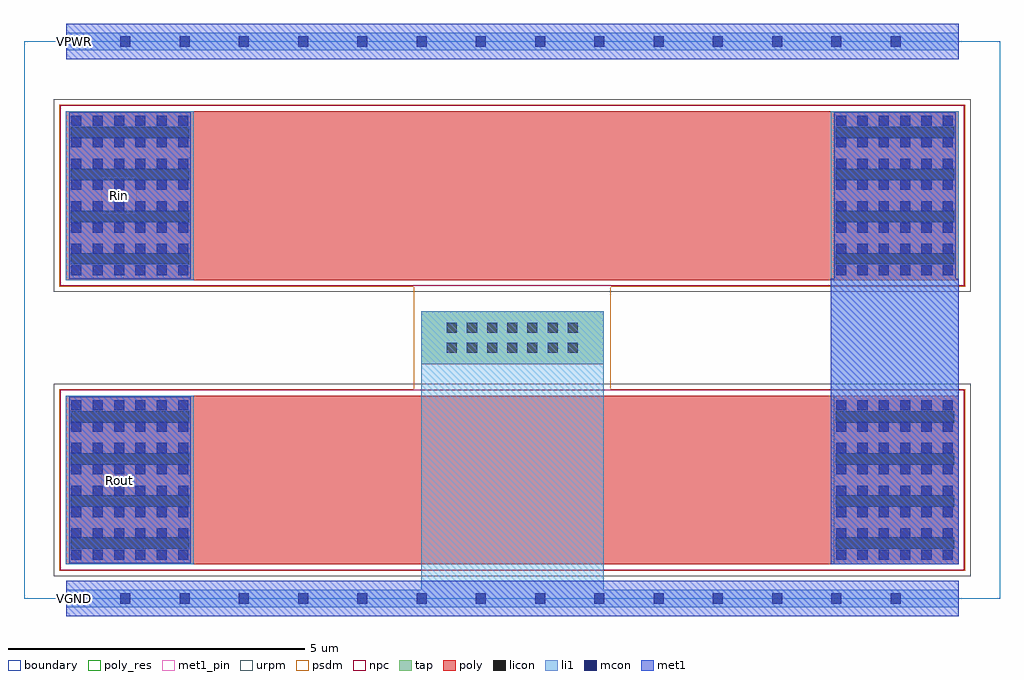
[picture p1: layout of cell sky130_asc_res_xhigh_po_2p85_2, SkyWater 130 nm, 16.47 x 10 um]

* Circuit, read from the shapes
.subckt sky130_asc_res_xhigh_po_2p85_2 Rin Rout VGND VPWR
XR1 n1 Rout VGND sky130_fd_pr__res_xhigh_po w=2.85 l=10.75
XR2 n1 Rin VGND sky130_fd_pr__res_xhigh_po w=2.85 l=10.75
.ends

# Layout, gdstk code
import gdstk
lib = gdstk.Library(unit=1e-6, precision=1e-09)
def R(c, l, rs):  # rectangles x0, y0, x1, y1
    for r in rs: c.add(gdstk.rectangle(r[:2], r[2:], *l))
def A(c, l, x, y, w, h, nx, ny, dx, dy):  # array of equal rectangles
    R(c, l, [(x+i*dx, y+j*dy, x+i*dx+w, y+j*dy+h) for i in range(nx) for j in range(ny)])
tap = (65, 44)
poly_res = (66, 13)
poly = (66, 20)
licon = (66, 44)
li1 = (67, 20)
mcon = (67, 44)
met1_pin = (68, 16)
met1 = (68, 20)
urpm = (79, 20)
psdm = (94, 20)
npc = (95, 20)
boundary = (235, 4)

sky130_asc_res_xhigh_po_ = lib.new_cell('sky130_asc_res_xhigh_po_2p85_2')
R(sky130_asc_res_xhigh_po_, tap, [(6.7,3.95,9.78,4.85)])
R(sky130_asc_res_xhigh_po_, poly_res, [(2.805,0.575,13.675,3.425), (2.805,5.375,13.675,8.225)])
R(sky130_asc_res_xhigh_po_, poly, [(0.705,0.575,15.775,3.425), (0.705,5.375,15.775,8.225)])
A(sky130_asc_res_xhigh_po_, licon, 0.785, 0.84, 2, 0.19, 1, 4, 0, 0.71)
A(sky130_asc_res_xhigh_po_, licon, 13.695, 0.84, 2, 0.19, 1, 4, 0, 0.71)
A(sky130_asc_res_xhigh_po_, licon, 7.135, 4.145, 0.17, 0.17, 7, 2, 0.34, 0.34)
A(sky130_asc_res_xhigh_po_, licon, 0.785, 5.64, 2, 0.19, 1, 4, 0, 0.71)
A(sky130_asc_res_xhigh_po_, licon, 13.695, 5.64, 2, 0.19, 1, 4, 0, 0.71)
R(sky130_asc_res_xhigh_po_, li1, [(0.71,-0.15,15.77,0.15), (6.7,0.15,9.78,4.85), (0.705,0.575,2.865,3.425), (13.615,0.575,15.775,8.225), (0.705,5.375,2.865,8.225), (0.71,9.25,15.77,9.55)])
A(sky130_asc_res_xhigh_po_, mcon, 1.625, -0.085, 0.17, 0.17, 14, 2, 1, 9.4)
A(sky130_asc_res_xhigh_po_, mcon, 0.8, 0.655, 0.17, 0.17, 6, 8, 0.36, 0.36)
A(sky130_asc_res_xhigh_po_, mcon, 13.705, 0.655, 0.17, 0.17, 6, 8, 0.36, 0.36)
A(sky130_asc_res_xhigh_po_, mcon, 0.8, 5.455, 0.17, 0.17, 6, 8, 0.36, 0.36)
A(sky130_asc_res_xhigh_po_, mcon, 13.705, 5.455, 0.17, 0.17, 6, 8, 0.36, 0.36)
R(sky130_asc_res_xhigh_po_, met1_pin, [(0.71,-0.15,1.01,0.15), (1.305,1.7,1.905,2.3), (1.305,6.5,1.905,7.1), (0.71,9.25,1.01,9.55)])
R(sky130_asc_res_xhigh_po_, met1, [(0.71,-0.3,15.77,0.3), (13.615,0.575,15.775,5.395), (0.76,0.595,2.81,3.405), (0.76,5.395,2.81,8.205), (13.67,5.395,15.72,8.205), (0.71,9.1,15.77,9.7)])
R(sky130_asc_res_xhigh_po_, urpm, [(0.505,0.375,15.975,3.625), (0.505,5.175,15.975,8.425)])
R(sky130_asc_res_xhigh_po_, psdm, [(0.595,0.465,15.885,3.535), (6.575,3.535,9.905,5.265), (0.595,5.265,15.885,8.335)])
R(sky130_asc_res_xhigh_po_, npc, [(0.61,0.48,15.87,3.52), (0.61,5.28,15.87,8.32)])
R(sky130_asc_res_xhigh_po_, boundary, [(0,0,16.47,9.4)])
sky130_asc_res_xhigh_po_.add(gdstk.Label('Rin', (1.605,6.8), layer=68, texttype=16))
sky130_asc_res_xhigh_po_.add(gdstk.Label('Rout', (1.605,2), layer=68, texttype=16))
sky130_asc_res_xhigh_po_.add(gdstk.Label('VPWR', (0.86,9.4), layer=68, texttype=16))
sky130_asc_res_xhigh_po_.add(gdstk.Label('VGND', (0.86,0), layer=68, texttype=16))

lib.write_gds('sky130_asc_res_xhigh_po_2p85_2.gds')
